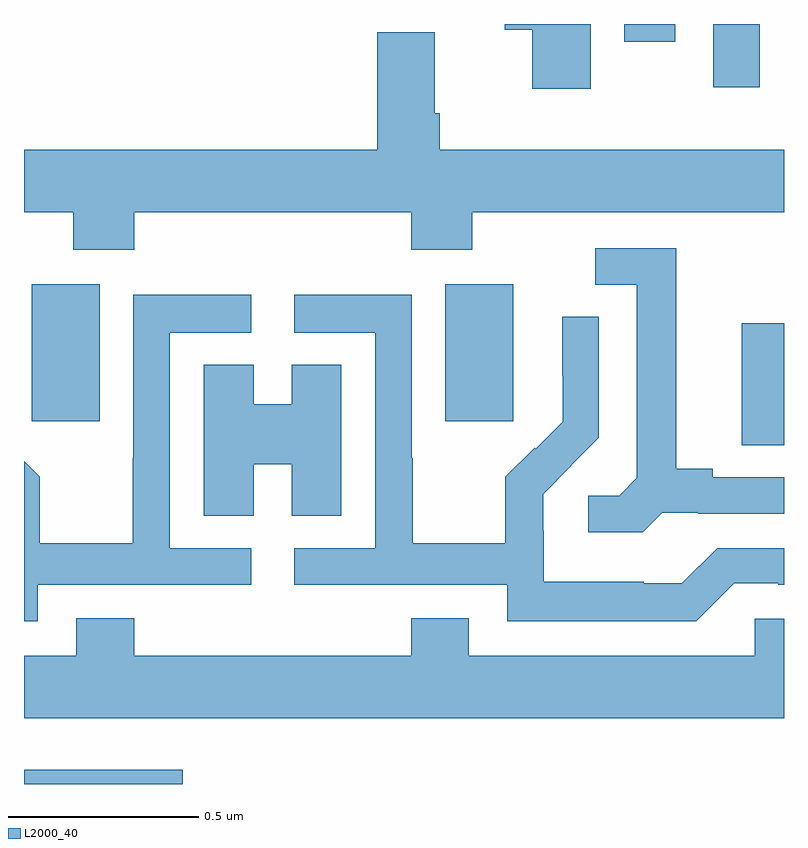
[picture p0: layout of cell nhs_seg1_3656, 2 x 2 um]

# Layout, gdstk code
import gdstk
lib = gdstk.Library(unit=1e-6, precision=1e-09)
def R(c, l, rs):  # rectangles x0, y0, x1, y1
    for r in rs: c.add(gdstk.rectangle(r[:2], r[2:], *l))
def P(c, l, *ps):  # polygons
    for p in ps: c.add(gdstk.Polygon(p, *l))
L2000_40 = (2000, 40)

nhs_seg1_3656 = lib.new_cell('nhs_seg1_3656')
R(nhs_seg1_3656, L2000_40, [(156,578.199,156.418,578.236), (157.889,579.091,158,579.411), (156.02,579.153,156.199,579.514), (157.109,579.153,157.288,579.514), (157.814,580.032,157.936,580.199), (157.58,580.152,157.714,580.199)])
P(nhs_seg1_3656, L2000_40, [(157.492,580.199),(157.265,580.199),(157.265,580.184),(157.337,580.184),(157.337,580.029),(157.492,580.029)],
  [(156.29,579.704),(157.019,579.704),(157.019,579.605),(157.179,579.605),(157.179,579.704),(158,579.704),(158,579.868),(157.094,579.868),(157.094,579.964),(157.081,579.964),(157.081,580.177),(156.929,580.177),(156.929,579.868),(156,579.868),(156,579.704),(156.13,579.704),(156.13,579.605),(156.29,579.605)],
  [(157.68,578.913),(157.774,578.913),(157.774,578.91),(158,578.91),(158,579.006),(157.813,579.006),(157.813,579.029),(157.717,579.029),(157.717,579.609),(157.503,579.609),(157.503,579.513),(157.613,579.513),(157.613,579.005),(157.566,578.958),(157.485,578.958),(157.485,578.861),(157.628,578.861)],
  [(157.869,578.727),(157.985,578.727),(157.985,578.724),(158,578.724),(158,578.82),(157.824,578.82),(157.731,578.727),(157.631,578.727),(157.631,578.731),(157.368,578.731),(157.368,578.865),(157.366,578.865),(157.366,578.962),(157.44,579.036),(157.439,579.037),(157.512,579.11),(157.512,579.428),(157.416,579.428),(157.416,579.274),(157.418,579.274),(157.418,579.152),(157.347,579.081),(157.344,579.084),(157.267,579.007),(157.267,578.833),(157.023,578.833),(157.023,579.056),(157.02,579.056),(157.02,579.486),(156.711,579.486),(156.711,579.387),(156.924,579.387),(156.924,578.82),(156.711,578.82),(156.711,578.724),(157.272,578.724),(157.272,578.627),(157.769,578.627)],
  [(156.036,578.724),(156.598,578.724),(156.598,578.82),(156.384,578.82),(156.384,579.387),(156.598,579.387),(156.598,579.486),(156.288,579.486),(156.288,579.056),(156.286,579.056),(156.286,578.833),(156.041,578.833),(156.041,579.007),(156,579.048),(156,578.627),(156.036,578.627)],
  [(156.604,579.041),(156.704,579.041),(156.704,578.905),(156.835,578.905),(156.835,579.302),(156.704,579.302),(156.704,579.199),(156.604,579.199),(156.604,579.302),(156.473,579.302),(156.473,578.905),(156.604,578.905)],
  [(158,578.634),(157.923,578.634),(157.923,578.536),(157.171,578.536),(157.171,578.635),(157.019,578.635),(157.019,578.536),(156.29,578.536),(156.29,578.635),(156.137,578.635),(156.137,578.536),(156,578.536),(156,578.372),(158,578.372)])

lib.write_gds('nhs_seg1_3656.gds')
